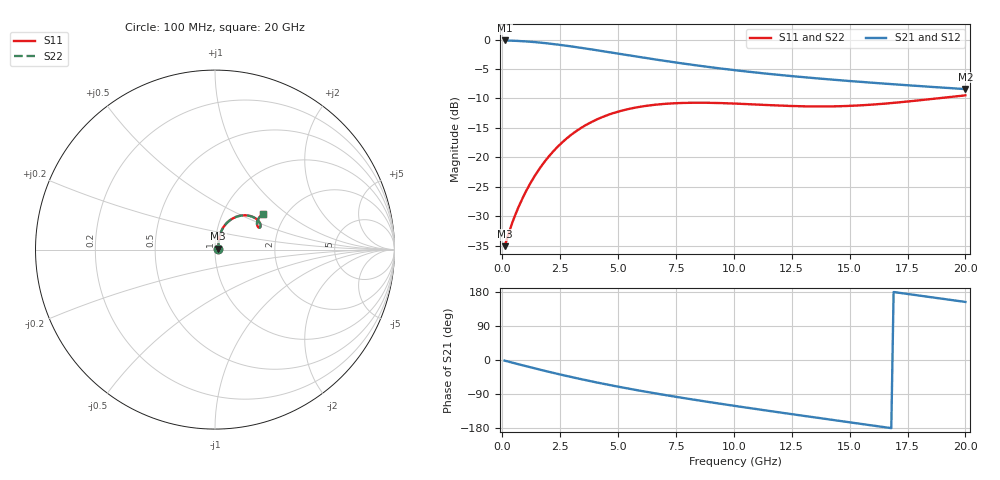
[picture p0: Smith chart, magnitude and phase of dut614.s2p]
! Touchstone file exported from HFSS 2024.1.0
!  File:  C:/UserFiles/LocalFiles/RDL_TSV_Batchsim/temp_RDL_TSV_614_1779799963.aedt
!  Generated:  09:09:30 PM May 26, 2026
!  Design:  RDL_TSV
!  Project:  temp_RDL_TSV_614_1779799963
!  Setup:  Setup1
!  Solution:  Sweep
! Variables:
!  dtsv = 6.32um
!  hbump = 3um
!  htsv = 72.24um
!  ldown = 468.16um
!  lrdl = 408.18um
!  p = 40
!  p1 = 42.84um
!  rhole = 10um
!  subl = 3037.2um
!  t = 450um
!  tdown = 3.7um
!  trdl = 4.65um
!  viad = 10um
!  wdown = 27.17um
!  wrdl = 12um
!  xbump = 18um
# GHz S MA R 50.000000
! Terminal data exported
! Port[1] = TM1_1_T1
! Port[2] = TM1_4_T1
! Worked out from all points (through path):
!   200 points, 100 MHz to 20 GHz, reference 50 ohm
!   highest |S21| = -0.15 dB at 100 MHz (marker M1); lowest = -8.4 dB at 20 GHz (marker M2)
!   group delay of S21, straight-line fit = 27.3 ps
!   lowest |S11| = -35.1 dB at 100 MHz (marker M3), VSWR 1.04, Z = 51.7 + j0.552 ohm
!   |S11| at or under -10 dB: start of sweep to 18.75 GHz
!   |S22| runs from -35.1 to -9.5 dB; largest |S21 - S12| = 1.9e-14
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0.1  0.01763 17.6  0.9831 -1.7  0.9831 -1.7  0.01763 17.6
! Gamma 0 0 0 0
! Port Impedance 50 0 50 0
0.4  0.0268 45.5  0.979 -6.5  0.979 -6.5  0.0268 45.5
0.7  0.03782 58.3  0.9733 -11.2  0.9733 -11.2  0.03782 58.2
1.1  0.05503 67.0  0.9625 -17.5  0.9625 -17.5  0.05503 66.9
1.5  0.0746 70.6  0.9483 -23.6  0.9483 -23.6  0.07459 70.6
1.9  0.09584 71.5  0.9311 -29.6  0.9311 -29.6  0.09583 71.5
2.4  0.1236 70.3  0.9065 -36.8  0.9065 -36.8  0.1236 70.2
2.9  0.1513 67.5  0.8796 -43.8  0.8796 -43.8  0.1513 67.5
3.5  0.1827 63.2  0.8456 -51.9  0.8456 -51.9  0.1826 63.1
4.2  0.2149 57.6  0.8053 -60.8  0.8053 -60.8  0.2147 57.5
5  0.2443 51.3  0.7603 -70.4  0.7603 -70.4  0.2441 51.2
5.8  0.2657 45.5  0.7177 -79.4  0.7177 -79.4  0.2654 45.4
6.8  0.2823 39.2  0.6692 -90.1  0.6692 -90.1  0.2819 39.1
7.6  0.2889 35.1  0.6345 -98.2  0.6345 -98.2  0.2885 35.0
8.4  0.2911 31.7  0.6034 -105.9  0.6034 -105.9  0.2906 31.6
10.1  0.286 27.2  0.5481 -121.7  0.5481 -121.7  0.2854 27.2
11.7  0.2768 26.2  0.5071 -135.9  0.5071 -135.9  0.2762 26.2
13.4  0.2706 27.9  0.472 -150.7  0.472 -150.7  0.27 27.9
15  0.2736 31.1  0.4448 -164.4  0.4448 -164.4  0.2731 31.1
16.7  0.2879 34.4  0.42 -178.9  0.42 -178.9  0.2874 34.3
18.3  0.3094 36.2  0.3995 167.5  0.3995 167.5  0.3089 36.2
20  0.336 36.5  0.3799 153.2  0.3799 153.2  0.3355 36.5
